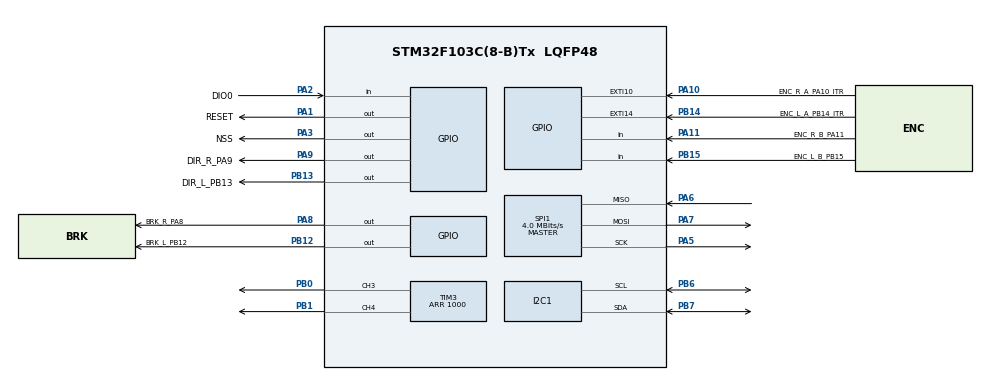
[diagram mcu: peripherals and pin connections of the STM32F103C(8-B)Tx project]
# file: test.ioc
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FREERTOS.Tasks01=defaultTask,24,128,StartDefaultTask,Default,NULL,Dynamic,NULL,NULL
FREERTOS.configUSE_NEWLIB_REENTRANT=1
I2C1.I2C_Mode=I2C_Standard
Mcu.Family=STM32F1
Mcu.Name=STM32F103C(8-B)Tx
Mcu.Package=LQFP48
NVIC.EXTI15_10_IRQn=true\:5\:0\:false\:false\:true\:true\:true\:true
NVIC.PriorityGroup=NVIC_PRIORITYGROUP_4
NVIC.RTC_IRQn=true\:5\:0\:false\:false\:true\:true\:true\:true
NVIC.TIM2_IRQn=true\:15\:0\:false\:false\:true\:false\:false\:true
NVIC.TimeBase=TIM2_IRQn
NVIC.TimeBaseIP=TIM2
PA1.GPIO_Label=RESET
PA1.PinState=GPIO_PIN_SET
PA1.Signal=GPIO_Output
PA10.GPIO_Label=ENC_R_A_PA10_ITR
PA10.GPIO_ModeDefaultEXTI=GPIO_MODE_IT_RISING_FALLING
PA10.Signal=GPXTI10
PA11.GPIO_Label=ENC_R_B_PA11
PA11.GPIO_PuPd=GPIO_NOPULL
PA11.Signal=GPIO_Input
PA13.Mode=Serial_Wire
PA13.Signal=SYS_JTMS-SWDIO
PA14.Mode=Serial_Wire
PA14.Signal=SYS_JTCK-SWCLK
PA2.GPIO_Label=DIO0
PA2.GPIO_PuPd=GPIO_NOPULL
PA2.Signal=GPIO_Input
PA3.GPIO_Label=NSS
PA3.PinState=GPIO_PIN_SET
PA3.Signal=GPIO_Output
PA5.Mode=Full_Duplex_Master
PA5.Signal=SPI1_SCK
PA6.Mode=Full_Duplex_Master
PA6.Signal=SPI1_MISO
PA7.Mode=Full_Duplex_Master
PA7.Signal=SPI1_MOSI
PA8.GPIO_Label=BRK_R_PA8
PA8.GPIO_PuPd=GPIO_NOPULL
PA8.PinState=GPIO_PIN_RESET
PA8.Signal=GPIO_Output
PA9.GPIO_Label=DIR_R_PA9
PA9.PinState=GPIO_PIN_SET
PA9.Signal=GPIO_Output
PB0.Signal=S_TIM3_CH3
PB1.Signal=S_TIM3_CH4
PB12.GPIO_Label=BRK_L_PB12
PB12.GPIO_ModeDefaultOutputPP=GPIO_MODE_OUTPUT_PP
PB12.GPIO_PuPd=GPIO_NOPULL
PB12.PinState=GPIO_PIN_RESET
PB12.Signal=GPIO_Output
PB13.GPIO_Label=DIR_L_PB13
PB13.PinState=GPIO_PIN_SET
PB13.Signal=GPIO_Output
PB14.GPIO_Label=ENC_L_A_PB14_ITR
PB14.GPIO_ModeDefaultEXTI=GPIO_MODE_IT_RISING_FALLING
PB14.Signal=GPXTI14
PB15.GPIO_Label=ENC_L_B_PB15
PB15.Signal=GPIO_Input
PB6.Mode=I2C
PB6.Signal=I2C1_SCL
PB7.Mode=I2C
PB7.Signal=I2C1_SDA
ProjectManager.HeapSize=0x200
ProjectManager.StackSize=0x400
ProjectManager.TargetToolchain=STM32CubeIDE
RCC.APB1Freq_Value=8000000
RCC.APB1TimFreq_Value=8000000
RCC.APB2Freq_Value=8000000
RCC.APB2TimFreq_Value=8000000
SH.S_TIM3_CH3.0=TIM3_CH3,PWM Generation3 CH3
SH.S_TIM3_CH4.0=TIM3_CH4,PWM Generation4 CH4
SPI1.CalculateBaudRate=4.0 MBits/s
SPI1.Direction=SPI_DIRECTION_2LINES
SPI1.Mode=SPI_MODE_MASTER
SPI1.VirtualType=VM_MASTER
TIM3.Channel-PWM\ Generation3\ CH3=TIM_CHANNEL_3
TIM3.Channel-PWM\ Generation4\ CH4=TIM_CHANNEL_4
TIM3.Period=1000
TIM3.Pulse-PWM\ Generation3\ CH3=65535
TIM3.Pulse-PWM\ Generation4\ CH4=65535
VP_FREERTOS_VS_CMSIS_V2.Mode=CMSIS_V2
VP_RTC_VS_RTC_Activate.Mode=RTC_Enabled
VP_SYS_VS_tim2.Mode=TIM2
board=custom

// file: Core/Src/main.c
/* USER CODE BEGIN Header */
/**
  ******************************************************************************
  * @file           : main.c
  * @brief          : Self-balancing Robot
  * I2C1 : MPU6050
  * SPI1 : It was supposed to connect RF-Module(SX1276) but damaged during the test.
  * PA1,2,3 : work with RF-module. RESET, NSS, DI0
  * PB1,2 : L-R Motor PWM
  * PA 8, 9,10,11 : Right Motor Break, Direction, Encoder-A, Encoder-B
  * PB12,13,15,15 : Left  Motor Break, Direction, Encoder-A, Encoder-B
  ******************************************************************************
  */
/* USER CODE END Header */
#include "main.h"
#include "cmsis_os.h"

/* USER CODE BEGIN Includes */
#include "mpu6050.h"
#include <stdbool.h>
#include <stdlib.h>
#include <math.h>
/* USER CODE END Includes */

/* USER CODE BEGIN PD */
MPU6050_t MPU6050;
#define FORWARD true
#define BACKWARD false
/* USER CODE END PD */

I2C_HandleTypeDef hi2c1;

RTC_HandleTypeDef hrtc;

SPI_HandleTypeDef hspi1;

TIM_HandleTypeDef htim3;

/* Definitions for defaultTask */
osThreadId_t defaultTaskHandle;
const osThreadAttr_t defaultTask_attributes = {
  .name = "defaultTask",
  .stack_size = 128 * 4,
  .priority = (osPriority_t) osPriorityNormal,
};

void SystemClock_Config(void);
static void MX_GPIO_Init(void);
static void MX_I2C1_Init(void);
static void MX_SPI1_Init(void);
static void MX_RTC_Init(void);
static void MX_TIM3_Init(void);
void StartDefaultTask(void *argument);

/* USER CODE BEGIN 0 */
/*
 * @brief   mapping value x in range in_min~in_max  to  range of out_min~out_max
 * @retval  double
 */
double map(double x, double in_min, double in_max, double out_min, double out_max)
{
	if(x>in_max)	return out_max;
	else if(x<in_min)	return out_min;

	return (x - in_min) * (out_max - out_min) / (in_max - in_min) + out_min;
}

/*
 * @brief   simply confirm val is in range of min ~ max
 * @retval  double
 */
double constrain(double val, double min, double max)
{
	if(val<min)  return min;
	if(val>max)  return max;
	return val;
}

/* USER CODE END 0 */

int main(void)
{

  /* MCU Configuration--------------------------------------------------------*/

  /* Reset of all peripherals, Initializes the Flash interface and the Systick. */
  HAL_Init();

  /* Configure the system clock */
  SystemClock_Config();

  /* Initialize all configured peripherals */
  MX_GPIO_Init();
  MX_I2C1_Init();
  MX_SPI1_Init();
  MX_RTC_Init();
  MX_TIM3_Init();

  /* Init scheduler */
  osKernelInitialize();

  /* Create the thread(s) */
  /* creation of defaultTask */
  defaultTaskHandle = osThreadNew(StartDefaultTask, NULL, &defaultTask_attributes);

  /* Start scheduler */
  osKernelStart();

  /* We should never get here as control is now taken by the scheduler */
  /* Infinite loop */
  while (1)
  {

  }
}

void SystemClock_Config(void)
{
  RCC_OscInitTypeDef RCC_OscInitStruct = {0};
  RCC_ClkInitTypeDef RCC_ClkInitStruct = {0};
  RCC_PeriphCLKInitTypeDef PeriphClkInit = {0};

  /** Initializes the RCC Oscillators according to the specified parameters
  * in the RCC_OscInitTypeDef structure.
  */
  RCC_OscInitStruct.OscillatorType = RCC_OSCILLATORTYPE_HSI|RCC_OSCILLATORTYPE_LSI;
  RCC_OscInitStruct.HSIState = RCC_HSI_ON;
  RCC_OscInitStruct.HSICalibrationValue = RCC_HSICALIBRATION_DEFAULT;
  RCC_OscInitStruct.LSIState = RCC_LSI_ON;
  RCC_OscInitStruct.PLL.PLLState = RCC_PLL_NONE;
  if (HAL_RCC_OscConfig(&RCC_OscInitStruct) != HAL_OK)
  {
    Error_Handler();
  }
  /** Initializes the CPU, AHB and APB buses clocks
  */
  RCC_ClkInitStruct.ClockType = RCC_CLOCKTYPE_HCLK|RCC_CLOCKTYPE_SYSCLK
                              |RCC_CLOCKTYPE_PCLK1|RCC_CLOCKTYPE_PCLK2;
  RCC_ClkInitStruct.SYSCLKSource = RCC_SYSCLKSOURCE_HSI;
  RCC_ClkInitStruct.AHBCLKDivider = RCC_SYSCLK_DIV1;
  RCC_ClkInitStruct.APB1CLKDivider = RCC_HCLK_DIV1;
  RCC_ClkInitStruct.APB2CLKDivider = RCC_HCLK_DIV1;

  if (HAL_RCC_ClockConfig(&RCC_ClkInitStruct, FLASH_LATENCY_0) != HAL_OK)
  {
    Error_Handler();
  }
  PeriphClkInit.PeriphClockSelection = RCC_PERIPHCLK_RTC;
  PeriphClkInit.RTCClockSelection = RCC_RTCCLKSOURCE_LSI;
  if (HAL_RCCEx_PeriphCLKConfig(&PeriphClkInit) != HAL_OK)
  {
    Error_Handler();
  }
}

static void MX_I2C1_Init(void)
{

  hi2c1.Instance = I2C1;
  hi2c1.Init.ClockSpeed = 100000;
  hi2c1.Init.DutyCycle = I2C_DUTYCYCLE_2;
  hi2c1.Init.OwnAddress1 = 0;
  hi2c1.Init.AddressingMode = I2C_ADDRESSINGMODE_7BIT;
  hi2c1.Init.DualAddressMode = I2C_DUALADDRESS_DISABLE;
  hi2c1.Init.OwnAddress2 = 0;
  hi2c1.Init.GeneralCallMode = I2C_GENERALCALL_DISABLE;
  hi2c1.Init.NoStretchMode = I2C_NOSTRETCH_DISABLE;
  if (HAL_I2C_Init(&hi2c1) != HAL_OK)
  {
    Error_Handler();
  }

}

static void MX_RTC_Init(void)
{

  /** Initialize RTC Only
  */
  hrtc.Instance = RTC;
  hrtc.Init.AsynchPrediv = RTC_AUTO_1_SECOND;
  hrtc.Init.OutPut = RTC_OUTPUTSOURCE_ALARM;
  if (HAL_RTC_Init(&hrtc) != HAL_OK)
  {
    Error_Handler();
  }

}

static void MX_SPI1_Init(void)
{

  /* SPI1 parameter configuration*/
  hspi1.Instance = SPI1;
  hspi1.Init.Mode = SPI_MODE_MASTER;
  hspi1.Init.Direction = SPI_DIRECTION_2LINES;
  hspi1.Init.DataSize = SPI_DATASIZE_8BIT;
  hspi1.Init.CLKPolarity = SPI_POLARITY_LOW;
  hspi1.Init.CLKPhase = SPI_PHASE_1EDGE;
  hspi1.Init.NSS = SPI_NSS_SOFT;
  hspi1.Init.BaudRatePrescaler = SPI_BAUDRATEPRESCALER_2;
  hspi1.Init.FirstBit = SPI_FIRSTBIT_MSB;
  hspi1.Init.TIMode = SPI_TIMODE_DISABLE;
  hspi1.Init.CRCCalculation = SPI_CRCCALCULATION_DISABLE;
  hspi1.Init.CRCPolynomial = 10;
  if (HAL_SPI_Init(&hspi1) != HAL_OK)
  {
    Error_Handler();
  }

}

static void MX_TIM3_Init(void)
{

  TIM_MasterConfigTypeDef sMasterConfig = {0};
  TIM_OC_InitTypeDef sConfigOC = {0};

  htim3.Instance = TIM3;
  htim3.Init.Prescaler = 0;
  htim3.Init.CounterMode = TIM_COUNTERMODE_UP;
  htim3.Init.Period = 1000;
  htim3.Init.ClockDivision = TIM_CLOCKDIVISION_DIV1;
  htim3.Init.AutoReloadPreload = TIM_AUTORELOAD_PRELOAD_DISABLE;
  if (HAL_TIM_PWM_Init(&htim3) != HAL_OK)
  {
    Error_Handler();
  }
  sMasterConfig.MasterOutputTrigger = TIM_TRGO_RESET;
  sMasterConfig.MasterSlaveMode = TIM_MASTERSLAVEMODE_DISABLE;
  if (HAL_TIMEx_MasterConfigSynchronization(&htim3, &sMasterConfig) != HAL_OK)
  {
    Error_Handler();
  }
  sConfigOC.OCMode = TIM_OCMODE_PWM1;
  sConfigOC.Pulse = 65535;
  sConfigOC.OCPolarity = TIM_OCPOLARITY_HIGH;
  sConfigOC.OCFastMode = TIM_OCFAST_DISABLE;
  if (HAL_TIM_PWM_ConfigChannel(&htim3, &sConfigOC, TIM_CHANNEL_3) != HAL_OK)
  {
    Error_Handler();
  }
  if (HAL_TIM_PWM_ConfigChannel(&htim3, &sConfigOC, TIM_CHANNEL_4) != HAL_OK)
  {
    Error_Handler();
  }
  HAL_TIM_MspPostInit(&htim3);

}

static void MX_GPIO_Init(void)
{
  GPIO_InitTypeDef GPIO_InitStruct = {0};

  /* GPIO Ports Clock Enable */
  __HAL_RCC_GPIOA_CLK_ENABLE();
  __HAL_RCC_GPIOB_CLK_ENABLE();

  /*Configure GPIO pin Output Level */
  HAL_GPIO_WritePin(GPIOA, RESET_Pin|NSS_Pin|DIR_R_PA9_Pin, GPIO_PIN_SET);

  /*Configure GPIO pin Output Level */
  HAL_GPIO_WritePin(BRK_L_PB12_GPIO_Port, BRK_L_PB12_Pin, GPIO_PIN_RESET);

  /*Configure GPIO pin Output Level */
  HAL_GPIO_WritePin(DIR_L_PB13_GPIO_Port, DIR_L_PB13_Pin, GPIO_PIN_SET);

  /*Configure GPIO pin Output Level */
  HAL_GPIO_WritePin(BRK_R_PA8_GPIO_Port, BRK_R_PA8_Pin, GPIO_PIN_RESET);

  /*Configure GPIO pins : RESET_Pin NSS_Pin BRK_R_PA8_Pin DIR_R_PA9_Pin */
  GPIO_InitStruct.Pin = RESET_Pin|NSS_Pin|BRK_R_PA8_Pin|DIR_R_PA9_Pin;
  GPIO_InitStruct.Mode = GPIO_MODE_OUTPUT_PP;
  GPIO_InitStruct.Pull = GPIO_NOPULL;
  GPIO_InitStruct.Speed = GPIO_SPEED_FREQ_LOW;
  HAL_GPIO_Init(GPIOA, &GPIO_InitStruct);

  /*Configure GPIO pins : DIO0_Pin ENC_R_B_PA11_Pin */
  GPIO_InitStruct.Pin = DIO0_Pin|ENC_R_B_PA11_Pin;
  GPIO_InitStruct.Mode = GPIO_MODE_INPUT;
  GPIO_InitStruct.Pull = GPIO_NOPULL;
  HAL_GPIO_Init(GPIOA, &GPIO_InitStruct);

  /*Configure GPIO pins : BRK_L_PB12_Pin DIR_L_PB13_Pin */
  GPIO_InitStruct.Pin = BRK_L_PB12_Pin|DIR_L_PB13_Pin;
  GPIO_InitStruct.Mode = GPIO_MODE_OUTPUT_PP;
  GPIO_InitStruct.Pull = GPIO_NOPULL;
  GPIO_InitStruct.Speed = GPIO_SPEED_FREQ_LOW;
  HAL_GPIO_Init(GPIOB, &GPIO_InitStruct);

  /*Configure GPIO pin : ENC_L_A_PB14_ITR_Pin */
  GPIO_InitStruct.Pin = ENC_L_A_PB14_ITR_Pin;
  GPIO_InitStruct.Mode = GPIO_MODE_IT_RISING_FALLING;
  GPIO_InitStruct.Pull = GPIO_NOPULL;
  HAL_GPIO_Init(ENC_L_A_PB14_ITR_GPIO_Port, &GPIO_InitStruct);

  /*Configure GPIO pin : ENC_L_B_PB15_Pin */
  GPIO_InitStruct.Pin = ENC_L_B_PB15_Pin;
  GPIO_InitStruct.Mode = GPIO_MODE_INPUT;
  GPIO_InitStruct.Pull = GPIO_NOPULL;
  HAL_GPIO_Init(ENC_L_B_PB15_GPIO_Port, &GPIO_InitStruct);

  /*Configure GPIO pin : ENC_R_A_PA10_ITR_Pin */
  GPIO_InitStruct.Pin = ENC_R_A_PA10_ITR_Pin;
  GPIO_InitStruct.Mode = GPIO_MODE_IT_RISING_FALLING;
  GPIO_InitStruct.Pull = GPIO_NOPULL;
  HAL_GPIO_Init(ENC_R_A_PA10_ITR_GPIO_Port, &GPIO_InitStruct);

  /* EXTI interrupt init*/
  HAL_NVIC_SetPriority(EXTI15_10_IRQn, 5, 0);
  HAL_NVIC_EnableIRQ(EXTI15_10_IRQn);

}

/* USER CODE BEGIN 4 */
//
/**
  * @brief  Tow Encoder EnA pin interrupt callback. Prepared for read motor encoder, but not using currently.
  * @param  Encoder EnA pin
  * @retval None
  */
void HAL_GPIO_EXTI_Callback(uint16_t GPIO_Pin)
{

}
/* USER CODE END 4 */

/* USER CODE BEGIN Header_StartDefaultTask */
/**
  * @brief  Function implementing the defaultTask thread.
  * @param  argument: Not used
  * @retval None
  *
  * Positive MoterPower : heading to jtag connector direction
  * Negative MoterPower : heading to usb connector direction
  * Lean to JTAG direction : Increasing current Angle
  * Lean to USB direction : Decreasing current Angle.
  *
  */
#define Kp 62
#define Ki 600
#define Kd 0.3

#define TARGET_ANGLE -2.5 //-1.5

volatile double accAngle, gyroAngle, currentAngle, prevAngle=0, error, prevError=0, errorSum=0, self_balance_pid_setpoint=0;
volatile int gyroRate;

float targetAngle = TARGET_ANGLE;
uint32_t gyro_tick, motor_tick;
bool b_fall=false;

/* USER CODE END Header_StartDefaultTask */
void StartDefaultTask(void *argument)
{
  /* USER CODE BEGIN 5 */
	/* Infinite loop */
	uint32_t cur_tick;
	uint8_t direction=false;   // false :to Ring, true:to sensors
	int16_t accY, accZ, gyroX;
	int16_t motorPower;
	float sampleTime;

	HAL_TIM_Base_Start(&htim3);               //Initialize stm32 timer 3
	HAL_TIM_PWM_Start(&htim3,TIM_CHANNEL_3);  //PB0 Start pwm second motor 100% duty cycle
	HAL_TIM_PWM_Start(&htim3,TIM_CHANNEL_4);  //PB1 Start pwm first motor  100% duty cycle

	HAL_GPIO_WritePin(GPIOB, GPIO_PIN_13, direction); // Green Direction
	HAL_GPIO_WritePin(GPIOA, GPIO_PIN_9, !direction);  // Red Direction

	HAL_GPIO_WritePin(GPIOA, GPIO_PIN_8, GPIO_PIN_SET);  // Release Break
	HAL_GPIO_WritePin(GPIOB, GPIO_PIN_12, GPIO_PIN_SET); // Release Break    BRK_L_PB12_GPIO_Port

	while (MPU6050_Init(&hi2c1) == 1);

	//MPU6050_Calib_GX_AYZ(&hi2c1, &MPU6050); // Calibrate MPU6050 for get offsets, target angle.
	MPU6050.GyroX_offset=-136; // = (average Gyro_X_RAW)/4
	MPU6050.AccY_offset = 527;//522;//7;(jtag방향 약간 기움)   커지면 usb, 작아지면 jtag
	MPU6050.AccZ_offset = -318;//-162;// // = ( 16384- average ACC_Z_RAW)/8
	osDelay(500);

	for(;;)
	{
		cur_tick=HAL_GetTick();

		if(cur_tick-gyro_tick>5){
			if(gyro_tick==0)
				gyro_tick=cur_tick-5;

			sampleTime=(float)(cur_tick-gyro_tick)/1000;
			//MPU6050_Read_All(&hi2c1, &MPU6050);
			MPU6050_Read_GyroX_AccYZ_RAW(&hi2c1, &MPU6050); // reading just what I need. (accY, accZ, gyroX)

			if(MPU6050.Accel_Y_RAW==0 && MPU6050.Accel_Z_RAW==0 && MPU6050.Gyro_X_RAW==0){ // Should check. fail to read sometime.
				// Wait 1msec then start over.
				osDelay(1);
				continue;
			}
			accY = MPU6050.Accel_Y_RAW - MPU6050.AccY_offset;
			accZ = MPU6050.Accel_Z_RAW - MPU6050.AccZ_offset;
			gyroX = MPU6050.Gyro_X_RAW - MPU6050.GyroX_offset;
			accAngle = atan2(accY, accZ)*RAD_TO_DEG;
			gyroRate = map(gyroX, -32768, 32767, -250, 250);
			gyroAngle = (float)gyroRate*sampleTime;

			// Complementary Filter with sensor reading angle.
			float comp_h = 0.75/(0.75+sampleTime);
			//currentAngle = 0.9934*(prevAngle + gyroAngle) + 0.0066*(accAngle);
			currentAngle = comp_h*(prevAngle + gyroAngle) + (1-comp_h)*(accAngle);

			error = currentAngle - targetAngle-self_balance_pid_setpoint;
			errorSum = errorSum + error;
			errorSum = constrain(errorSum, -600, 600);

			// compute PID for updating motorPower.
			motorPower = (int16_t)(Kp*(error) + Ki*(errorSum)*sampleTime - Kd*(currentAngle-prevAngle)/sampleTime);

			prevAngle = currentAngle;

			// motor stop when robot fall.
			if(accY>9000 || accY<-9000){  // accY(-9000)=kalmanX(-29)=currentAngle(-50),      accY(9000)=kalX(29)=currentAngle(5.5)       KalX(0)=currentAngle(-23)
				motorPower=0;
				prevAngle=0;
				errorSum=0;
				self_balance_pid_setpoint=0;
				b_fall=true;
			}else
				b_fall=false;

			motorPower = constrain(motorPower, -1000, 1000);
			// set motor direction
			HAL_GPIO_WritePin(GPIOB, GPIO_PIN_13, motorPower>0?FORWARD:BACKWARD); // green
			HAL_GPIO_WritePin(GPIOA, GPIO_PIN_9,  motorPower>0?BACKWARD:FORWARD); // red
			if(b_fall)
				motorPower=0;
			// set motor speed.
			__HAL_TIM_SET_COMPARE(&htim3,TIM_CHANNEL_3, 1000-abs(motorPower)); // green
			__HAL_TIM_SET_COMPARE(&htim3,TIM_CHANNEL_4, 1000-abs(motorPower)); // red

			gyro_tick=cur_tick;
		}
		if(cur_tick-motor_tick>10){
			//setMotorSpeed(cur_speed,0);
			motor_tick=cur_tick;
		}
	}
  /* USER CODE END 5 */
}

void HAL_TIM_PeriodElapsedCallback(TIM_HandleTypeDef *htim)
{
  if (htim->Instance == TIM2) {
    HAL_IncTick();
  }
}

void Error_Handler(void)
{
  __disable_irq();
  while (1)
  {
  }
}
